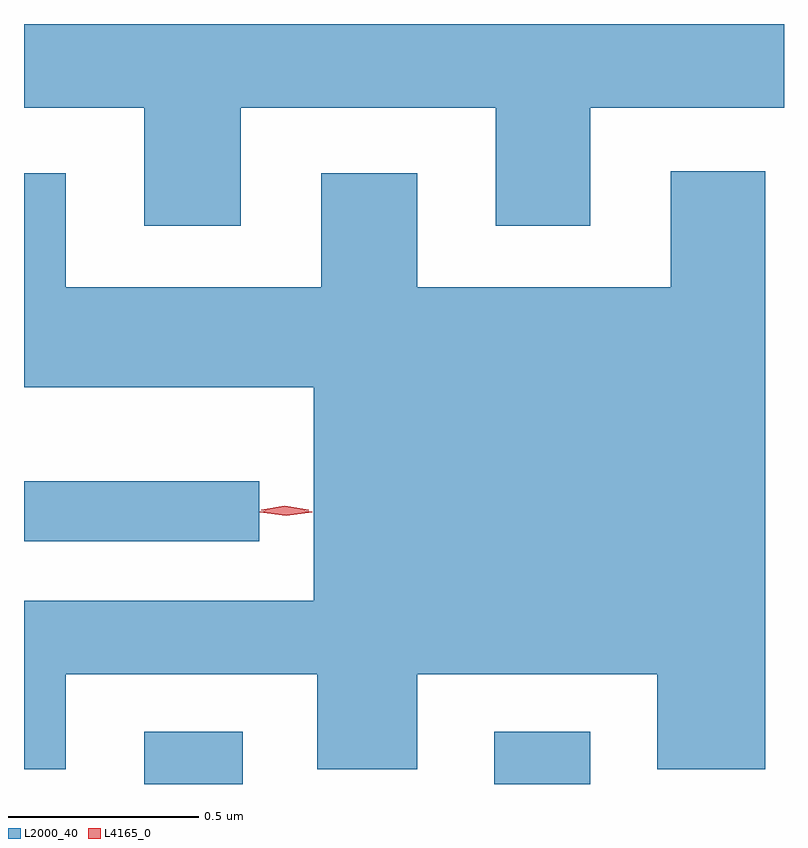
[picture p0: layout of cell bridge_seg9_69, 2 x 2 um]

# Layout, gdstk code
import gdstk
lib = gdstk.Library(unit=1e-6, precision=1e-09)
def R(c, l, rs):  # rectangles x0, y0, x1, y1
    for r in rs: c.add(gdstk.rectangle(r[:2], r[2:], *l))
def P(c, l, *ps):  # polygons
    for p in ps: c.add(gdstk.Polygon(p, *l))
L2000_40 = (2000, 40)
L4165_0 = (4165, 0)

bridge_seg9_69 = lib.new_cell('bridge_seg9_69')
R(bridge_seg9_69, L2000_40, [(1642.166,1947.857,1642.424,1947.994), (1643.086,1947.857,1643.339,1947.994), (1641.849,1948.496,1642.468,1948.654)])
P(bridge_seg9_69, L2000_40, [(1642.419,1949.636),(1643.091,1949.636),(1643.091,1949.326),(1643.339,1949.326),(1643.339,1949.636),(1643.849,1949.636),(1643.849,1949.857),(1641.849,1949.857),(1641.849,1949.636),(1642.166,1949.636),(1642.166,1949.326),(1642.419,1949.326)],
  [(1641.959,1948.146),(1642.621,1948.146),(1642.621,1947.896),(1642.884,1947.896),(1642.884,1948.146),(1643.516,1948.146),(1643.516,1947.896),(1643.799,1947.896),(1643.799,1949.469),(1643.551,1949.469),(1643.551,1949.164),(1642.884,1949.164),(1642.884,1949.464),(1642.631,1949.464),(1642.631,1949.164),(1641.959,1949.164),(1641.959,1949.464),(1641.849,1949.464),(1641.849,1948.901),(1642.611,1948.901),(1642.611,1948.339),(1641.849,1948.339),(1641.849,1947.896),(1641.959,1947.896)])
P(bridge_seg9_69, L4165_0, [(1642.539,1948.563),(1642.47,1948.572),(1642.469,1948.573),(1642.47,1948.573),(1642.539,1948.583),(1642.607,1948.573),(1642.608,1948.573),(1642.607,1948.572)],
  [(1642.535,1948.569),(1642.473,1948.578),(1642.473,1948.578),(1642.473,1948.579),(1642.535,1948.589),(1642.598,1948.579),(1642.598,1948.579),(1642.598,1948.578)])

lib.write_gds('bridge_seg9_69.gds')
